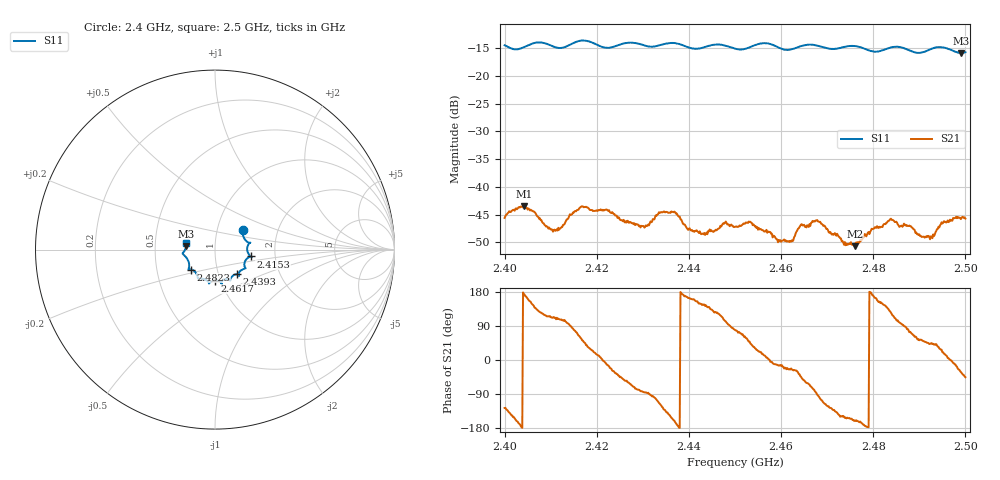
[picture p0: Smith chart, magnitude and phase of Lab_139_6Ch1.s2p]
# Hz S RI R 50
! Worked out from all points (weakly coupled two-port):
!   601 points, 2.4 GHz to 2.5 GHz, reference 50 ohm
!   highest |S21| = -43.42 dB at 2.4042 GHz (marker M1); lowest = -50.7 dB at 2.476 GHz (marker M2)
!   lowest |S11| = -15.8 dB at 2.499 GHz (marker M3), VSWR 1.38, Z = 36.2 + j1.41 ohm
!   |S11| at or under -10 dB: start of sweep to end of sweep
!   S12 and S22 are empty: the file has one direction only
!   S11 on the Smith chart (normalised r, x): 2.4 GHz: 1.33, +0.30; 2.4153 GHz: 1.49, -0.12; 2.4393 GHz: 1.23, -0.35; 2.4617 GHz: 0.94, -0.33; 2.4823 GHz: 0.75, -0.17; 2.5 GHz: 0.72, +0.05
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2.4e9  0.1554 0.1084  -0.00314 -0.00422  0 0  0 0
2.404167e9  0.1758 0.0465  -0.00671 0.000676  0 0  0 0
2.410667e9  0.1826 0.0215  -0.00162 0.00376  0 0  0 0
2.415333e9  0.1982 -0.0379  0.00141 0.00591  0 0  0 0
2.416667e9  0.2046 -0.0422  0.00374 0.00552  0 0  0 0
2.43e9  0.1561 -0.1097  0.000489 -0.00442  0 0  0 0
2.433333e9  0.1321 -0.1338  -0.00197 -0.00536  0 0  0 0
2.436833e9  0.1343 -0.146  -0.00564 -0.00204  0 0  0 0
2.439333e9  0.1229 -0.1381  -0.00431 0.000936  0 0  0 0
2.443167e9  0.0889 -0.1576  -0.0031 0.00211  0 0  0 0
2.447667e9  0.083 -0.1698  -0.00125 0.00449  0 0  0 0
2.45e9  0.0661 -0.1638  0.000826 0.00431  0 0  0 0
2.453167e9  0.0376 -0.1777  0.0032 0.00362  0 0  0 0
2.461667e9  0.000201 -0.1722  0.00295 -0.00136  0 0  0 0
2.466667e9  -0.0335 -0.1887  0.00145 -0.00456  0 0  0 0
2.476e9  -0.0947 -0.1607  -0.00274 -0.00102  0 0  0 0
2.482333e9  -0.1321 -0.1109  -0.00381 0.00264  0 0  0 0
2.483333e9  -0.1407 -0.1098  -0.00342 0.00357  0 0  0 0
2.492333e9  -0.1708 -0.0323  0.00248 0.00229  0 0  0 0
2.495e9  -0.1805 -0.0201  0.00438 0.00165  0 0  0 0
2.499e9  -0.1603 0.019  0.00437 -0.00268  0 0  0 0
2.5e9  -0.1596 0.0365  0.00365 -0.00369  0 0  0 0
